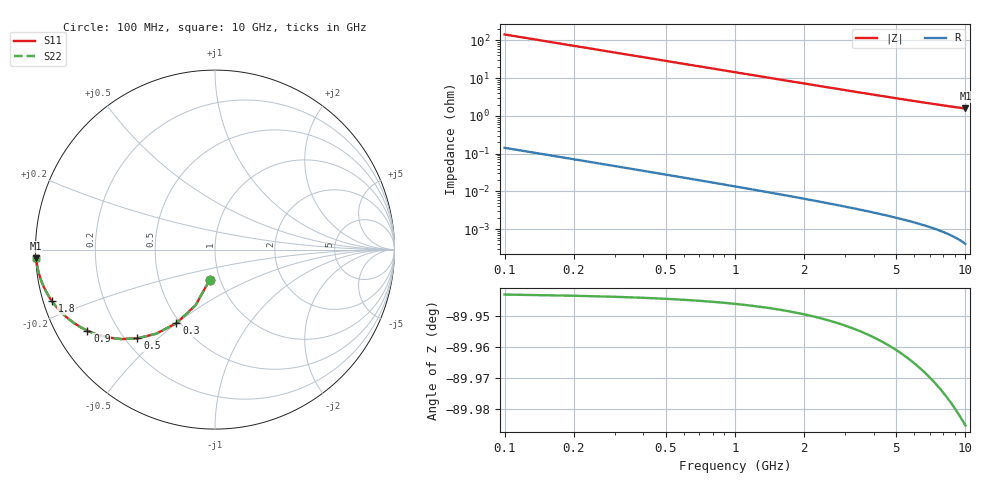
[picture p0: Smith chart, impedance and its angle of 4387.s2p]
# Hz S RI R 50.00
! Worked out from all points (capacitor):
!   100 points, 100 MHz to 10 GHz, reference 50 ohm
!   read as one part in shunt: C = 11.1 pF near 100 MHz
!   lowest |Z| = 1.57 ohm at 10 GHz (marker M1)
!   S11 on the Smith chart (normalised r, x): 100 MHz: 0.89, -0.31; 300 MHz: 0.48, -0.50; 500 MHz: 0.25, -0.43; 900 MHz: 0.09, -0.29; 1.8 GHz: 0.03, -0.15; 10 GHz: 0.00, -0.02
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1e8  -0.0296 -0.1691  0.9703 -0.1692  0.9703 -0.1692  -0.0296 -0.1691
2e8  -0.1086 -0.3106  0.8913 -0.3109  0.8913 -0.3109  -0.1086 -0.3106
3e8  -0.2151 -0.4102  0.7848 -0.4106  0.7848 -0.4106  -0.2151 -0.4102
4e8  -0.3274 -0.4685  0.6725 -0.4691  0.6725 -0.4691  -0.3274 -0.4685
5e8  -0.4319 -0.4945  0.568 -0.4952  0.568 -0.4952  -0.4319 -0.4945
6e8  -0.5225 -0.4986  0.4774 -0.4994  0.4774 -0.4994  -0.5225 -0.4986
7e8  -0.5983 -0.4892  0.4016 -0.4902  0.4016 -0.4902  -0.5983 -0.4892
8e8  -0.6604 -0.4725  0.3395 -0.4736  0.3395 -0.4736  -0.6604 -0.4725
9e8  -0.711 -0.4521  0.2889 -0.4534  0.2889 -0.4534  -0.711 -0.4521
1.1e9  -0.7861 -0.4088  0.2138 -0.4103  0.2138 -0.4103  -0.7861 -0.4088
1.3e9  -0.8369 -0.368  0.163 -0.3698  0.163 -0.3698  -0.8369 -0.368
1.5e9  -0.8723 -0.3322  0.1277 -0.3343  0.1277 -0.3343  -0.8723 -0.3322
1.8e9  -0.9077 -0.2877  0.0922 -0.2902  0.0922 -0.2902  -0.9077 -0.2877
2.1e9  -0.9304 -0.2523  0.0695 -0.2553  0.0695 -0.2553  -0.9304 -0.2523
2.5e9  -0.9499 -0.2158  0.05 -0.2193  0.05 -0.2193  -0.9499 -0.2158
2.9e9  -0.9623 -0.1879  0.0376 -0.1919  0.0376 -0.1919  -0.9623 -0.1879
3.4e9  -0.9723 -0.1611  0.0276 -0.1659  0.0276 -0.1659  -0.9723 -0.1611
4.2e9  -0.9817 -0.1304  0.0182 -0.1364  0.0182 -0.1364  -0.9817 -0.1304
5.1e9  -0.9875 -0.1066  0.0124 -0.1138  0.0124 -0.1138  -0.9875 -0.1066
6.7e9  -0.9927 -0.079  0.0071 -0.0886  0.0071 -0.0886  -0.9927 -0.079
8.4e9  -0.9954 -0.0603  0.00442 -0.0725  0.00442 -0.0725  -0.9954 -0.0603
1e10  -0.9968 -0.0478  0.00302 -0.0626  0.00302 -0.0626  -0.9968 -0.0478
